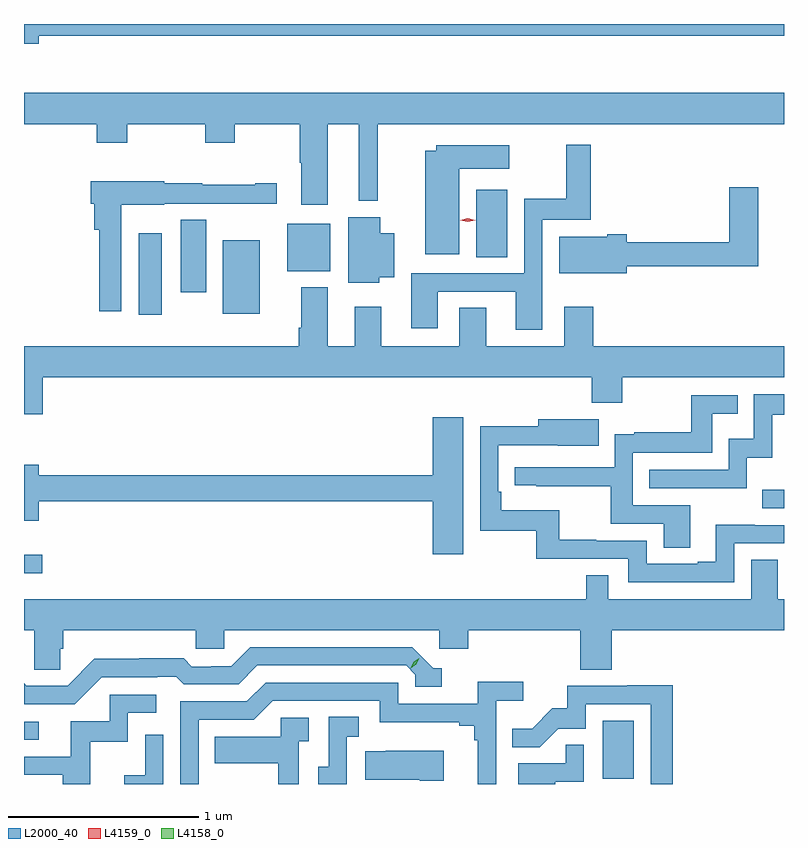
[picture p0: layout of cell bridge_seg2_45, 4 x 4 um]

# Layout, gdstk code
import gdstk
lib = gdstk.Library(unit=1e-6, precision=1e-09)
def R(c, l, rs):  # rectangles x0, y0, x1, y1
    for r in rs: c.add(gdstk.rectangle(r[:2], r[2:], *l))
def P(c, l, *ps):  # polygons
    for p in ps: c.add(gdstk.Polygon(p, *l))
L2000_40 = (2000, 40)
L4158_0 = (4158, 0)
L4159_0 = (4159, 0)

bridge_seg2_45 = lib.new_cell('bridge_seg2_45')
R(bridge_seg2_45, L2000_40, [(1086.218,660.174,1086.382,660.481), (1083.173,660.381,1083.25,660.474), (1083.173,661.256,1083.268,661.353), (1087.059,661.599,1087.173,661.696), (1083.776,662.616,1083.898,663.046), (1084.22,662.621,1084.414,663.01), (1083.998,662.736,1084.132,663.116), (1084.559,662.846,1084.786,663.097), (1085.552,662.92,1085.716,663.274)])
P(bridge_seg2_45, L2000_40, [(1083.25,664.086),(1087.173,664.086),(1087.173,664.147),(1083.173,664.147),(1083.173,664.043),(1083.25,664.043)],
  [(1084.771,663.62),(1084.934,663.62),(1084.934,663.216),(1085.034,663.216),(1085.034,663.62),(1087.173,663.62),(1087.173,663.784),(1083.173,663.784),(1083.173,663.62),(1083.557,663.62),(1083.557,663.521),(1083.717,663.521),(1083.717,663.62),(1084.126,663.62),(1084.126,663.521),(1084.281,663.521),(1084.281,663.62),(1084.624,663.62),(1084.624,663.416),(1084.631,663.416),(1084.631,663.195),(1084.771,663.195)],
  [(1085.901,663.117),(1086.155,663.117),(1086.155,663.511),(1086.027,663.511),(1086.027,663.226),(1085.805,663.226),(1085.805,662.835),(1085.21,662.835),(1085.21,662.546),(1085.35,662.546),(1085.35,662.739),(1085.762,662.739),(1085.762,662.538),(1085.901,662.538)],
  [(1085.464,663.386),(1085.728,663.386),(1085.728,663.508),(1085.343,663.508),(1085.343,663.481),(1085.285,663.481),(1085.285,662.936),(1085.464,662.936)],
  [(1083.684,663.197),(1083.912,663.197),(1083.912,663.201),(1084.228,663.201),(1084.228,663.2),(1084.504,663.2),(1084.504,663.31),(1084.391,663.31),(1084.391,663.3),(1084.112,663.3),(1084.112,663.31),(1083.912,663.31),(1083.912,663.319),(1083.524,663.319),(1083.524,663.201),(1083.542,663.201),(1083.542,663.065),(1083.568,663.065),(1083.568,662.634),(1083.684,662.634)],
  [(1086.346,662.871),(1087.037,662.871),(1087.037,663.289),(1086.884,663.289),(1086.884,662.999),(1086.346,662.999),(1086.346,663.041),(1086.242,663.041),(1086.242,663.028),(1085.99,663.028),(1085.99,662.834),(1086.346,662.834)],
  [(1085.043,662.813),(1085.122,662.813),(1085.122,663.046),(1085.047,663.046),(1085.047,663.13),(1084.88,663.13),(1084.88,662.786),(1085.043,662.786)],
  [(1083.272,662.288),(1086.161,662.288),(1086.161,662.153),(1086.321,662.153),(1086.321,662.288),(1087.173,662.288),(1087.173,662.452),(1086.17,662.452),(1086.17,662.659),(1086.017,662.659),(1086.017,662.452),(1085.605,662.452),(1085.605,662.654),(1085.465,662.654),(1085.465,662.452),(1085.053,662.452),(1085.053,662.659),(1084.913,662.659),(1084.913,662.452),(1084.771,662.452),(1084.771,662.761),(1084.631,662.761),(1084.631,662.548),(1084.619,662.548),(1084.619,662.452),(1083.173,662.452),(1083.173,662.094),(1083.272,662.094)],
  [(1086.978,661.865),(1087.111,661.865),(1087.111,662.091),(1087.173,662.091),(1087.173,662.199),(1087.014,662.199),(1087.014,661.963),(1086.882,661.963),(1086.882,661.8),(1086.463,661.8),(1086.463,661.704),(1086.978,661.704)],
  [(1086.679,661.614),(1086.378,661.614),(1086.378,661.89),(1086.795,661.89),(1086.795,662.096),(1086.929,662.096),(1086.929,662.193),(1086.684,662.193),(1086.684,661.999),(1086.385,661.999),(1086.385,661.987),(1086.282,661.987),(1086.282,661.815),(1085.757,661.815),(1085.757,661.719),(1085.869,661.719),(1085.869,661.714),(1086.262,661.714),(1086.262,661.518),(1086.539,661.518),(1086.539,661.39),(1086.679,661.39)],
  [(1085.485,662.077),(1085.324,662.077),(1085.324,661.772),(1083.25,661.772),(1083.25,661.828),(1083.173,661.828),(1083.173,661.532),(1083.25,661.532),(1083.25,661.636),(1085.324,661.636),(1085.324,661.356),(1085.485,661.356)],
  [(1086.912,661.413),(1087.173,661.413),(1087.173,661.509),(1087.02,661.509),(1087.02,661.511),(1086.815,661.511),(1086.815,661.318),(1086.719,661.318),(1086.719,661.305),(1086.45,661.305),(1086.45,661.428),(1086.185,661.428),(1086.185,661.433),(1085.989,661.433),(1085.989,661.588),(1085.684,661.588),(1085.684,661.684),(1085.67,661.684),(1085.67,661.929),(1085.983,661.929),(1085.983,661.928),(1086.197,661.928),(1086.197,662.068),(1085.879,662.068),(1085.879,662.03),(1085.574,662.03),(1085.574,661.479),(1085.868,661.479),(1085.868,661.332),(1086.354,661.332),(1086.354,661.209),(1086.912,661.209)],
  [(1083.365,660.858),(1083.38,660.858),(1083.38,660.956),(1084.077,660.956),(1084.077,660.858),(1084.227,660.858),(1084.227,660.956),(1085.358,660.956),(1085.358,660.858),(1085.51,660.858),(1085.51,660.956),(1086.101,660.956),(1086.101,660.748),(1086.266,660.748),(1086.266,660.956),(1087.173,660.956),(1087.173,661.12),(1087.14,661.12),(1087.14,661.328),(1087.001,661.328),(1087.001,661.12),(1086.249,661.12),(1086.249,661.247),(1086.133,661.247),(1086.133,661.12),(1083.173,661.12),(1083.173,660.956),(1083.228,660.956),(1083.228,660.748),(1083.365,660.748)],
  [(1083.582,660.708),(1083.875,660.708),(1083.875,660.711),(1083.974,660.711),(1084.013,660.672),(1084.302,660.672),(1084.401,660.771),(1085.184,660.771),(1085.232,660.723),(1085.232,660.66),(1085.371,660.66),(1085.371,660.756),(1085.328,660.756),(1085.217,660.867),(1084.364,660.867),(1084.265,660.768),(1084.158,660.768),(1084.158,660.765),(1084.055,660.765),(1084.013,660.808),(1083.78,660.808),(1083.78,660.805),(1083.544,660.805),(1083.402,660.663),(1083.186,660.663),(1083.173,660.676),(1083.173,660.567),(1083.441,660.567)],
  [(1084.092,660.486),(1084.383,660.486),(1084.482,660.585),(1085.046,660.585),(1085.046,660.473),(1085.465,660.473),(1085.465,660.454),(1085.542,660.454),(1085.542,660.377),(1085.561,660.377),(1085.561,660.147),(1085.658,660.147),(1085.658,660.584),(1085.8,660.584),(1085.8,660.686),(1085.561,660.686),(1085.561,660.57),(1085.142,660.57),(1085.142,660.681),(1084.445,660.681),(1084.346,660.582),(1083.996,660.582),(1083.996,660.147),(1084.092,660.147)],
  [(1086.587,660.668),(1086.349,660.668),(1086.349,660.663),(1086.031,660.663),(1086.031,660.546),(1085.954,660.546),(1085.847,660.439),(1085.743,660.439),(1085.743,660.341),(1085.887,660.341),(1085.984,660.438),(1086.129,660.438),(1086.129,660.567),(1086.471,660.567),(1086.471,660.147),(1086.587,660.147)],
  [(1083.521,660.369),(1083.72,660.369),(1083.72,660.522),(1083.868,660.522),(1083.868,660.618),(1083.624,660.618),(1083.624,660.477),(1083.419,660.477),(1083.419,660.291),(1083.173,660.291),(1083.173,660.195),(1083.377,660.195),(1083.377,660.147),(1083.521,660.147)],
  [(1084.872,660.397),(1084.936,660.397),(1084.936,660.5),(1084.776,660.5),(1084.776,660.237),(1084.721,660.237),(1084.721,660.147),(1084.872,660.147)],
  [(1084.62,660.371),(1084.672,660.371),(1084.672,660.495),(1084.524,660.495),(1084.524,660.397),(1084.177,660.397),(1084.177,660.257),(1084.512,660.257),(1084.512,660.147),(1084.62,660.147)],
  [(1083.906,660.406),(1083.81,660.406),(1083.81,660.194),(1083.701,660.194),(1083.701,660.147),(1083.906,660.147)],
  [(1085.968,660.159),(1086.12,660.159),(1086.12,660.353),(1086.025,660.353),(1086.025,660.255),(1085.774,660.255),(1085.774,660.147),(1085.968,660.147)],
  [(1085.383,660.322),(1085.077,660.322),(1085.077,660.319),(1084.969,660.319),(1084.969,660.17),(1085.255,660.17),(1085.255,660.163),(1085.383,660.163)])
P(bridge_seg2_45, L4158_0, [(1085.208,660.757),(1085.208,660.758),(1085.224,660.79),(1085.254,660.81),(1085.254,660.81),(1085.254,660.81),(1085.238,660.777),(1085.208,660.757)])
P(bridge_seg2_45, L4159_0, [(1085.508,663.105),(1085.468,663.115),(1085.468,663.115),(1085.468,663.115),(1085.508,663.124),(1085.548,663.114),(1085.548,663.114),(1085.548,663.114)])

lib.write_gds('bridge_seg2_45.gds')
